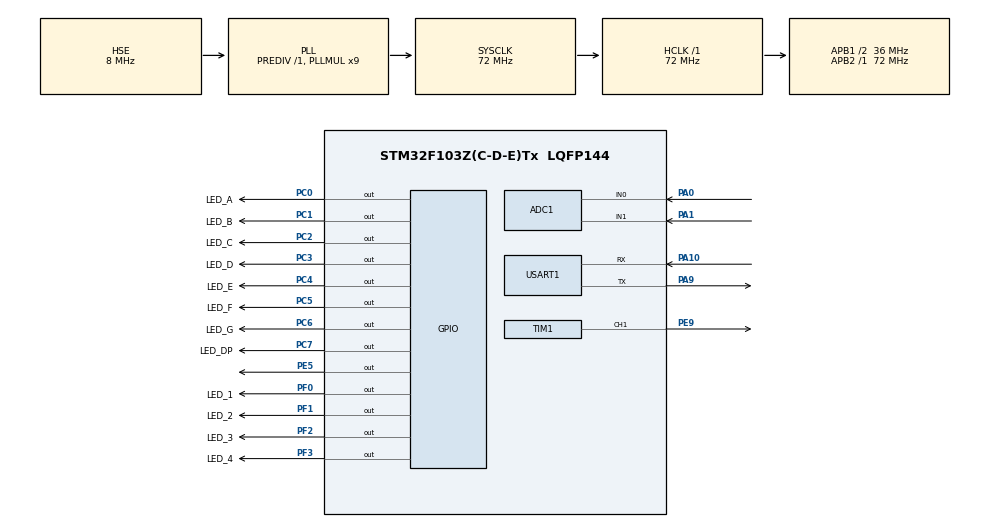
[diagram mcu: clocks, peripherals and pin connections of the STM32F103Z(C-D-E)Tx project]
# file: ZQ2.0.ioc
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ADC1.Channel-0\#ChannelRegularConversion=ADC_CHANNEL_1
ADC1.ContinuousConvMode=ENABLE
ADC1.NbrOfConversionFlag=1
ADC1.Rank-0\#ChannelRegularConversion=1
ADC1.SamplingTime-0\#ChannelRegularConversion=ADC_SAMPLETIME_239CYCLES_5
ADC1.master=1
Mcu.Family=STM32F1
Mcu.Name=STM32F103Z(C-D-E)Tx
Mcu.Package=LQFP144
NVIC.ADC1_2_IRQn=true\:0\:0\:false\:false\:true\:true\:true\:true
NVIC.PriorityGroup=NVIC_PRIORITYGROUP_4
NVIC.TIM3_IRQn=true\:2\:0\:true\:false\:true\:true\:true\:true
OSC_IN.Mode=HSE-External-Oscillator
OSC_IN.Signal=RCC_OSC_IN
OSC_OUT.Mode=HSE-External-Oscillator
OSC_OUT.Signal=RCC_OSC_OUT
PA0-WKUP.Signal=ADCx_IN0
PA1.Signal=ADCx_IN1
PA10.Mode=Asynchronous
PA10.Signal=USART1_RX
PA13.Mode=Serial_Wire
PA13.Signal=SYS_JTMS-SWDIO
PA14.Mode=Serial_Wire
PA14.Signal=SYS_JTCK-SWCLK
PA9.Mode=Asynchronous
PA9.Signal=USART1_TX
PC0.GPIO_Label=LED_A
PC0.PinState=GPIO_PIN_SET
PC0.Signal=GPIO_Output
PC1.GPIO_Label=LED_B
PC1.PinState=GPIO_PIN_SET
PC1.Signal=GPIO_Output
PC2.GPIO_Label=LED_C
PC2.PinState=GPIO_PIN_SET
PC2.Signal=GPIO_Output
PC3.GPIO_Label=LED_D
PC3.PinState=GPIO_PIN_SET
PC3.Signal=GPIO_Output
PC4.GPIO_Label=LED_E
PC4.PinState=GPIO_PIN_SET
PC4.Signal=GPIO_Output
PC5.GPIO_Label=LED_F
PC5.PinState=GPIO_PIN_SET
PC5.Signal=GPIO_Output
PC6.GPIO_Label=LED_G
PC6.PinState=GPIO_PIN_SET
PC6.Signal=GPIO_Output
PC7.GPIO_Label=LED_DP
PC7.PinState=GPIO_PIN_SET
PC7.Signal=GPIO_Output
PE5.Signal=GPIO_Output
PE9.GPIO_Speed=GPIO_SPEED_FREQ_HIGH
PE9.Signal=S_TIM1_CH1
PF0.GPIO_Label=LED_1
PF0.Signal=GPIO_Output
PF1.GPIO_Label=LED_2
PF1.Signal=GPIO_Output
PF2.GPIO_Label=LED_3
PF2.Signal=GPIO_Output
PF3.GPIO_Label=LED_4
PF3.Signal=GPIO_Output
ProjectManager.HeapSize=0x200
ProjectManager.StackSize=0x400
ProjectManager.TargetToolchain=MDK-ARM V5.32
RCC.ADCPresc=RCC_ADCPCLK2_DIV6
RCC.AHBFreq_Value=72000000
RCC.APB1CLKDivider=RCC_HCLK_DIV2
RCC.APB1Freq_Value=36000000
RCC.APB1TimFreq_Value=72000000
RCC.APB2Freq_Value=72000000
RCC.APB2TimFreq_Value=72000000
RCC.HCLKFreq_Value=72000000
RCC.PLLMUL=RCC_PLL_MUL9
RCC.PLLSourceVirtual=RCC_PLLSOURCE_HSE
RCC.SYSCLKFreq_VALUE=72000000
RCC.SYSCLKSource=RCC_SYSCLKSOURCE_PLLCLK
RCC.USBFreq_Value=72000000
SH.ADCx_IN0.0=ADC1_IN0,IN0
SH.ADCx_IN1.0=ADC1_IN1,IN1
SH.S_TIM1_CH1.0=TIM1_CH1,PWM Generation1 CH1
TIM1.Channel-PWM\ Generation1\ CH1=TIM_CHANNEL_1
TIM1.Period=20000-1
TIM1.Prescaler=72-1
TIM3.Period=100-1
TIM3.Prescaler=72-1
USART1.VirtualMode=VM_ASYNC
VP_TIM1_VS_ClockSourceINT.Mode=Internal
VP_TIM3_VS_ClockSourceINT.Mode=Internal
board=custom

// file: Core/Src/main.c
/* USER CODE BEGIN Header */
/**
  ******************************************************************************
  * @file           : main.c
  * @brief          : Main program body
  ******************************************************************************
  * @attention
  *
  * Copyright (c) 2025 STMicroelectronics.
  * All rights reserved.
  *
  * This software is licensed under terms that can be found in the LICENSE file
  * in the root directory of this software component.
  * If no LICENSE file comes with this software, it is provided AS-IS.
  *
  ******************************************************************************
  */
/* USER CODE END Header */
#include "main.h"
#include "adc.h"
#include "tim.h"
#include "usart.h"
#include "gpio.h"

/* USER CODE BEGIN Includes */
#include "key.h"
#include "seg_display.h"
#include "servo.h"
/* USER CODE END Includes */

/* USER CODE BEGIN PV */
SystemMode currentMode = INPUT_MODE;
uint16_t inputAngle = 0;         // 角度值（0-180）
uint8_t angleBuffer[3] = {0};    // 输入缓冲区（最多3位：180）
uint8_t bufferIndex = 0;         // 缓冲区索引
uint32_t confirmPressStart = 0;  // 确认键按下起始时间
/* USER CODE END PV */

void SystemClock_Config(void);

int main(void)
{

  /* MCU Configuration--------------------------------------------------------*/

  /* Reset of all peripherals, Initializes the Flash interface and the Systick. */
  HAL_Init();

  /* Configure the system clock */
  SystemClock_Config();

  /* Initialize all configured peripherals */
  MX_GPIO_Init();
  MX_ADC1_Init();
  MX_TIM1_Init();
  MX_TIM3_Init();
  MX_USART1_UART_Init();
  /* USER CODE BEGIN 2 */
System_Init();  // 初始化外设和模块
  /* USER CODE END 2 */

  /* Infinite loop */
  /* USER CODE BEGIN WHILE */
  while (1)
  {
		Mode_Handle();  // 处理当前模式逻辑
    HAL_Delay(10);  // 主循环延时去抖
    /* USER CODE END WHILE */

  }
}

void SystemClock_Config(void)
{
  RCC_OscInitTypeDef RCC_OscInitStruct = {0};
  RCC_ClkInitTypeDef RCC_ClkInitStruct = {0};
  RCC_PeriphCLKInitTypeDef PeriphClkInit = {0};

  /** Initializes the RCC Oscillators according to the specified parameters
  * in the RCC_OscInitTypeDef structure.
  */
  RCC_OscInitStruct.OscillatorType = RCC_OSCILLATORTYPE_HSE;
  RCC_OscInitStruct.HSEState = RCC_HSE_ON;
  RCC_OscInitStruct.HSEPredivValue = RCC_HSE_PREDIV_DIV1;
  RCC_OscInitStruct.HSIState = RCC_HSI_ON;
  RCC_OscInitStruct.PLL.PLLState = RCC_PLL_ON;
  RCC_OscInitStruct.PLL.PLLSource = RCC_PLLSOURCE_HSE;
  RCC_OscInitStruct.PLL.PLLMUL = RCC_PLL_MUL9;
  if (HAL_RCC_OscConfig(&RCC_OscInitStruct) != HAL_OK)
  {
    Error_Handler();
  }

  /** Initializes the CPU, AHB and APB buses clocks
  */
  RCC_ClkInitStruct.ClockType = RCC_CLOCKTYPE_HCLK|RCC_CLOCKTYPE_SYSCLK
                              |RCC_CLOCKTYPE_PCLK1|RCC_CLOCKTYPE_PCLK2;
  RCC_ClkInitStruct.SYSCLKSource = RCC_SYSCLKSOURCE_PLLCLK;
  RCC_ClkInitStruct.AHBCLKDivider = RCC_SYSCLK_DIV1;
  RCC_ClkInitStruct.APB1CLKDivider = RCC_HCLK_DIV2;
  RCC_ClkInitStruct.APB2CLKDivider = RCC_HCLK_DIV1;

  if (HAL_RCC_ClockConfig(&RCC_ClkInitStruct, FLASH_LATENCY_2) != HAL_OK)
  {
    Error_Handler();
  }
  PeriphClkInit.PeriphClockSelection = RCC_PERIPHCLK_ADC;
  PeriphClkInit.AdcClockSelection = RCC_ADCPCLK2_DIV6;
  if (HAL_RCCEx_PeriphCLKConfig(&PeriphClkInit) != HAL_OK)
  {
    Error_Handler();
  }
}

/* USER CODE BEGIN 4 */
// 系统初始化：初始化所有外设和模块
void System_Init(void) {
    // 初始化舵机（TIM1_CH1，PE9）
    Servo_Init(&htim1, TIM_CHANNEL_1);
    // 初始化数码管
    SegDisplay_Init();
    // 启动ADC（按键和电位器）
    HAL_ADC_Start(&hadc1);
    // 启动TIM3定时中断（用于数码管动态扫描，1ms一次）
    HAL_TIM_Base_Start_IT(&htim3);
}

// 模式处理主函数
void Mode_Handle(void) {
    KeyType key = Key_Scan();  // 读取按键

    switch (currentMode) {
        case INPUT_MODE:
            // 处理数字输入、确认、清除
            if (key != KEY_NONE) {
                if (key >= KEY_0 && key <= KEY_9) {
                    // 数字输入（限制3位，最大180）
                    if (bufferIndex < 3) {
                        angleBuffer[bufferIndex++] = key;
                        inputAngle = angleBuffer[0] * 100 + angleBuffer[1] * 10 + angleBuffer[2];
                        if (inputAngle > 180) inputAngle = 180;
                        SegDisplay_Update(inputAngle);  // 更新显示
                    }
                } else if (key == KEY_CLEAR) {
                    // 清除输入
                    bufferIndex = 0;
                    memset(angleBuffer, 0, sizeof(angleBuffer));
                    inputAngle = 0;
                    SegDisplay_Update(inputAngle);
                } else if (key == KEY_CONFIRM) {
                    // 短按：确认角度；长按5s：切换到电位器模式
                    confirmPressStart = HAL_GetTick();
                    while (Key_Scan() == KEY_CONFIRM) {  // 等待按键释放
                        if (HAL_GetTick() - confirmPressStart > 5000) {
                            currentMode = POTENTIOMETER_MODE;
                            return;
                        }
                    }
                    // 短按处理：闪烁2次后执行
                    SegDisplay_Blink(2);  // 闪烁2次
                    Servo_SetAngle(inputAngle);  // 舵机转动
                }
            }
            break;

        case POTENTIOMETER_MODE:
            // 电位器控制：实时读取并更新角度
            inputAngle = Potentiometer_GetAngle();  // 读取电位器角度（0-180）
            SegDisplay_Update(inputAngle);          // 更新显示
            Servo_SetAngle(inputAngle);             // 舵机随动

            // 长按确认键返回输入模式
            if (key == KEY_CONFIRM) {
                confirmPressStart = HAL_GetTick();
                while (Key_Scan() == KEY_CONFIRM) {
                    if (HAL_GetTick() - confirmPressStart > 5000) {
                        currentMode = INPUT_MODE;
                        // 保存当前角度到输入缓冲区
                        angleBuffer[0] = inputAngle / 100;
                        angleBuffer[1] = (inputAngle % 100) / 10;
                        angleBuffer[2] = inputAngle % 10;
                        bufferIndex = (inputAngle >= 100) ? 3 : (inputAngle >= 10 ? 2 : 1);
                        return;
                    }
                }
            }
            break;
    }
}

// 映射函数：将输入范围映射到输出范围
uint32_t map(uint32_t x, uint32_t in_min, uint32_t in_max, uint32_t out_min, uint32_t out_max) {
    return (x - in_min) * (out_max - out_min) / (in_max - in_min) + out_min;
}
/* USER CODE END 4 */

void Error_Handler(void)
{
  __disable_irq();
  while (1)
  {
  }
}
